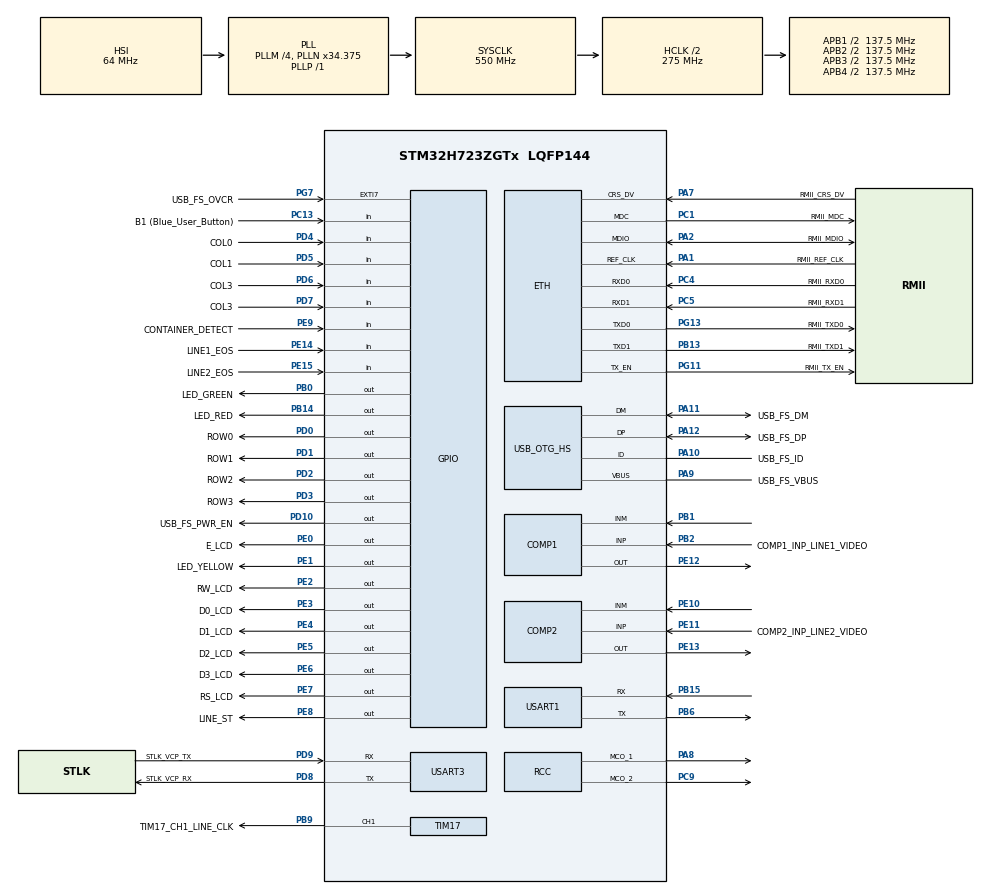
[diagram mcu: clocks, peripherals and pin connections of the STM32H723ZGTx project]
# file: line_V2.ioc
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PH0-OSC_IN.Signal=RCC_OSC_IN
VP_TIM17_VS_ClockSourceINT.Mode=Enable_Timer
PB14.GPIO_Label=LED_RED
RCC.PLLFRACN=3072
PA13(JTMS/SWDIO).Signal=DEBUG_JTMS-SWDIO
COMP1.Hysteresis=COMP_HYSTERESIS_LOW
PC5.Mode=RMII
PB13.Signal=ETH_TXD1
PD6.GPIO_Label=COL3
PG13.Signal=ETH_TXD0
PE6.GPIO_Label=D3_LCD
RCC.SYSCLKSource=RCC_SYSCLKSOURCE_PLLCLK
USART3.VirtualMode-Asynchronous=VM_ASYNC
Dma.TIM17_UP.0.Direction=DMA_PERIPH_TO_MEMORY
Dma.TIM17_UP.0.Polarity=HAL_DMAMUX_REQ_GEN_RISING
PD4.Signal=GPIO_Input
PB6.Signal=USART1_TX
PB6.Mode=Asynchronous
PD0.Signal=GPIO_Output
PD8.Signal=USART3_TX
PE5.Signal=GPIO_Output
PE1.Signal=GPIO_Output
PB3(JTDO/TRACESWO).GPIO_Label=SWO
PB2.Signal=COMP1_INP
TIM17.Channel=TIM_CHANNEL_1
RCC.DIVM2=1
RCC.DIVM1=4
PD1.GPIO_Label=ROW1
PC4.GPIO_Label=RMII_RXD0
PE9.Signal=GPIO_Input
PB3(JTDO/TRACESWO).Signal=DEBUG_JTDO-SWO
NVIC.TIM2_IRQn=true\:5\:0\:false\:false\:true\:true\:true\:true
PE4.GPIO_Label=D1_LCD
PC9.Mode=Clock-out-2
PE2.Signal=GPIO_Output
PA8.Signal=RCC_MCO_1
PE13.Mode=ExternalOutput
PE10.Signal=COMP2_INM
PB9.Signal=S_TIM17_CH1
Mcu.Package=LQFP144
TIM2.Prescaler=275
PB1.Signal=COMP1_INM
NVIC.TimeBase=TIM1_UP_IRQn
NVIC.TimeBaseIP=TIM1
PA10.Signal=USB_OTG_HS_ID
Dma.TIM17_UP.0.SyncRequestNumber=1
RCC.APB4Freq_Value=137500000
PA13(JTMS/SWDIO).GPIO_Label=SWDIO
PB13.Mode=RMII
PC4.Mode=RMII
PE12.Mode=ExternalOutput
RCC.DIVQ1=4
FREERTOS.Tasks01=defaultTask,24,128,StartDefaultTask,Default,NULL,Dynamic,NULL,NULL
PD9.GPIO_Label=STLK_VCP_TX
TIM17.Pulse=10
PC13.Signal=GPIO_Input
PA9.GPIO_Label=USB_FS_VBUS
TIM2.Pulse-PWM\ Generation1\ No\ Output=10
PD3.Signal=GPIO_Output
Dma.TIM17_UP.0.PeriphInc=DMA_PINC_DISABLE
Dma.TIM17_UP.0.MemDataAlignment=DMA_MDATAALIGN_WORD
Dma.TIM17_UP.0.RequestNumber=1
PE10.Mode=INM
PD7.Signal=GPIO_Input
PD1.Signal=GPIO_Output
PA11.GPIO_Label=USB_FS_DM
RCC.DIVP1=1
PC14-OSC32_IN.Signal=RCC_OSC32_IN
PG13.GPIO_Label=RMII_TXD0
PD10.Signal=GPIO_Output
PE8.GPIO_Label=LINE_ST
PA9.Signal=USB_OTG_HS_VBUS
RCC.DIVN2=19
RCC.DIVN1=34
PD8.Mode=Asynchronous
PE9.GPIO_Label=CONTAINER_DETECT
PB14.Signal=GPIO_Output
RCC.USBCLockSelection=RCC_USBCLKSOURCE_HSI48
PE1.GPIO_Label=LED_YELLOW
PA1.Mode=RMII
PE14.Signal=GPIO_Input
PE15.Signal=GPIO_Input
PE8.Signal=GPIO_Output
PG7.GPIO_Label=USB_FS_OVCR
PA1.GPIO_Label=RMII_REF_CLK
TIM2.Period=400
PA14(JTCK/SWCLK).Mode=Trace_Asynchronous_SW
ETH.MediaInterface=HAL_ETH_RMII_MODE
PE5.GPIO_Label=D2_LCD
PG11.Mode=RMII
PA11.Signal=USB_OTG_HS_DM
ProjectManager.HeapSize=0x200
PB1.Mode=INM
Dma.TIM17_UP.0.SyncPolarity=HAL_DMAMUX_SYNC_NO_EVENT
SH.S_TIM17_CH1.0=TIM17_CH1,PWM Generation1 CH1
NVIC.PriorityGroup=NVIC_PRIORITYGROUP_4
TIM2.Channel-PWM\ Generation1\ No\ Output=TIM_CHANNEL_1
PE3.Signal=GPIO_Output
PA8.Mode=Clock-out-1
PA14(JTCK/SWCLK).Signal=DEBUG_JTCK-SWCLK
PD2.Signal=GPIO_Output
PB0.Signal=GPIO_Output
PC1.Signal=ETH_MDC
PD2.GPIO_Label=ROW2
Dma.TIM17_UP.0.Mode=DMA_CIRCULAR
PC1.Mode=RMII
Mcu.Family=STM32H7
RCC.CortexFreq_Value=550000000
RCC.HPRE=RCC_HCLK_DIV2
PE11.GPIO_Label=COMP2_INP_LINE2_VIDEO
PD0.GPIO_Label=ROW0
PA11.Mode=OTG/Dual-Role-Device-FS
PB0.GPIO_Label=LED_GREEN
NVIC.TIM1_UP_IRQn=true\:0\:0\:false\:false\:true\:false\:false\:true
PC13.GPIO_Label=B1 (Blue_User_Button)
PB13.GPIO_Label=RMII_TXD1
PB15.Signal=USART1_RX
PD9.Mode=Asynchronous
PG11.Signal=ETH_TX_EN
ProjectManager.StackSize=0x400
VP_FREERTOS_VS_CMSIS_V2.Mode=CMSIS_V2
PA13(JTMS/SWDIO).Mode=Trace_Asynchronous_SW
TIM17.AutoReloadPreload=TIM_AUTORELOAD_PRELOAD_DISABLE
PA12.Signal=USB_OTG_HS_DP
Dma.TIM17_UP.0.Priority=DMA_PRIORITY_LOW
PE11.Mode=INP
RCC.HCLKFreq_Value=275000000
PH0-OSC_IN.Mode=HSE-External-Clock-Source
PH0-OSC_IN.GPIO_Label=MCO
RCC.HSE_VALUE=8000000
VP_TIM2_VS_no_output1.Mode=PWM Generation1 No Output
TIM17.Period=20
PE13.Signal=COMP2_OUT
PC14-OSC32_IN.Mode=LSE-External-Oscillator
PA14(JTCK/SWCLK).GPIO_Label=SWCLK
VP_SYS_VS_tim1.Mode=TIM1
PA10.GPIO_Label=USB_FS_ID
PG13.Mode=RMII
Dma.TIM17_UP.0.SyncEnable=DISABLE
PE4.Signal=GPIO_Output
Dma.TIM17_UP.0.SyncSignalID=NONE
FREERTOS.configTOTAL_HEAP_SIZE=32768
PD7.GPIO_Label=COL3
RCC.APB3Freq_Value=137500000
COMP2.Hysteresis=COMP_HYSTERESIS_LOW
Dma.TIM17_UP.0.FIFOMode=DMA_FIFOMODE_DISABLE
RCC.D1PPRE=RCC_APB3_DIV2
PD5.GPIO_Label=COL1
PB3(JTDO/TRACESWO).Mode=Trace_Asynchronous_SW
PA2.GPIO_Label=RMII_MDIO
Dma.TIM17_UP.0.Instance=DMA1_Stream1
PE0.GPIO_Label=E_LCD
TIM17.OC1Preload_PWM=DISABLE
PG11.GPIO_Label=RMII_TX_EN
PC5.Signal=ETH_RXD1
PD3.GPIO_Label=ROW3
PE7.Signal=GPIO_Output
PD6.Signal=GPIO_Input
Dma.Request0=TIM17_UP
PE2.GPIO_Label=RW_LCD
PC15-OSC32_OUT.Mode=LSE-External-Oscillator
PA7.Mode=RMII
PG7.Signal=GPXTI7
PB9.GPIO_Label=TIM17_CH1_LINE_CLK
PA10.Mode=OTG/Dual-Role-Device-FS
PC4.Signal=ETH_RXD0
RCC.D2PPRE2=RCC_APB2_DIV2
RCC.D2PPRE1=RCC_APB1_DIV2
PE14.GPIO_Label=LINE1_EOS
PD9.Signal=USART3_RX
PD5.Signal=GPIO_Input
NVIC.DMA1_Stream1_IRQn=true\:5\:0\:true\:false\:true\:true\:false\:true
PA12.GPIO_Label=USB_FS_DP
PD8.GPIO_Label=STLK_VCP_RX
USART1.VirtualMode-Asynchronous=VM_ASYNC
PA9.Mode=Activate_VBUS_FS
PE15.GPIO_Label=LINE2_EOS
Dma.TIM17_UP.0.PeriphDataAlignment=DMA_PDATAALIGN_WORD
ProjectManager.TargetToolchain=STM32CubeIDE
RCC.USBFreq_Value=48000000
PD10.GPIO_Label=USB_FS_PWR_EN
PE11.Signal=COMP2_INP
PC15-OSC32_OUT.Signal=RCC_OSC32_OUT
PA1.Signal=ETH_REF_CLK
board=NUCLEO-H723ZG
PB15.Mode=Asynchronous
RCC.APB2Freq_Value=137500000
VP_TIM2_VS_ClockSourceINT.Mode=Internal
PD4.GPIO_Label=COL0
RCC.ADCFreq_Value=608000000
PC1.GPIO_Label=RMII_MDC
Dma.TIM17_UP.0.SignalID=NONE
PE6.Signal=GPIO_Output
Mcu.Name=STM32H723ZGTx
PE0.Signal=GPIO_Output
PE7.GPIO_Label=RS_LCD
PE12.Signal=COMP1_OUT
PA2.Signal=ETH_MDIO
Dma.TIM17_UP.0.MemInc=DMA_MINC_ENABLE
RCC.SYSCLKFreq_VALUE=550000000
PA7.GPIO_Label=RMII_CRS_DV
PA12.Mode=OTG/Dual-Role-Device-FS
PC5.GPIO_Label=RMII_RXD1
PB2.Mode=INP
PB2.GPIO_Label=COMP1_INP_LINE1_VIDEO
PA2.Mode=RMII
PE3.GPIO_Label=D0_LCD
RCC.D3PPRE=RCC_APB4_DIV2
PC9.Signal=RCC_MCO_2
RCC.APB1Freq_Value=137500000
Dma.TIM17_UP.0.EventEnable=DISABLE
PA7.Signal=ETH_CRS_DV
PE9.GPIO_PuPd=GPIO_PULLUP

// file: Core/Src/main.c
/* USER CODE BEGIN Header */
/**
  ******************************************************************************
  * @file           : main.c
  * @brief          : Main program body
  ******************************************************************************
  * @attention
  *
  * <h2><center>&copy; Copyright (c) 2021 STMicroelectronics.
  * All rights reserved.</center></h2>
  *
  * This software component is licensed by ST under BSD 3-Clause license,
  * the "License"; You may not use this file except in compliance with the
  * License. You may obtain a copy of the License at:
  *                        opensource.org/licenses/BSD-3-Clause
  *
  ******************************************************************************
  */
/* USER CODE END Header */
#include "main.h"
#include "string.h"
#include "cmsis_os.h"

/* USER CODE BEGIN Includes */

#include <stdint.h>
#include <stdio.h>
#include <errno.h>

/* USER CODE END Includes */

#if defined ( __ICCARM__ ) /*!< IAR Compiler */

#pragma location=0x30040000
ETH_DMADescTypeDef  DMARxDscrTab[ETH_RX_DESC_CNT]; /* Ethernet Rx DMA Descriptors */
#pragma location=0x30040060
ETH_DMADescTypeDef  DMATxDscrTab[ETH_TX_DESC_CNT]; /* Ethernet Tx DMA Descriptors */
#pragma location=0x30040200
uint8_t Rx_Buff[ETH_RX_DESC_CNT][ETH_MAX_PACKET_SIZE]; /* Ethernet Receive Buffers */

#elif defined ( __CC_ARM )  /* MDK ARM Compiler */

__attribute__((at(0x30040000))) ETH_DMADescTypeDef  DMARxDscrTab[ETH_RX_DESC_CNT]; /* Ethernet Rx DMA Descriptors */
__attribute__((at(0x30040060))) ETH_DMADescTypeDef  DMATxDscrTab[ETH_TX_DESC_CNT]; /* Ethernet Tx DMA Descriptors */
__attribute__((at(0x30040200))) uint8_t Rx_Buff[ETH_RX_DESC_CNT][ETH_MAX_PACKET_SIZE]; /* Ethernet Receive Buffer */

#elif defined ( __GNUC__ ) /* GNU Compiler */

ETH_DMADescTypeDef DMARxDscrTab[ETH_RX_DESC_CNT] __attribute__((section(".RxDecripSection"))); /* Ethernet Rx DMA Descriptors */
ETH_DMADescTypeDef DMATxDscrTab[ETH_TX_DESC_CNT] __attribute__((section(".TxDecripSection")));   /* Ethernet Tx DMA Descriptors */
uint8_t Rx_Buff[ETH_RX_DESC_CNT][ETH_MAX_PACKET_SIZE] __attribute__((section(".RxArraySection"))); /* Ethernet Receive Buffers */

#endif

ETH_TxPacketConfig TxConfig;
COMP_HandleTypeDef hcomp1;
COMP_HandleTypeDef hcomp2;

ETH_HandleTypeDef heth;

TIM_HandleTypeDef htim2;
TIM_HandleTypeDef htim17;
DMA_HandleTypeDef hdma_tim17_up;

UART_HandleTypeDef huart1;
UART_HandleTypeDef huart3;

/* Definitions for defaultTask */
osThreadId_t defaultTaskHandle;
const osThreadAttr_t defaultTask_attributes = {
  .name = "defaultTask",
  .stack_size = 128 * 4,
  .priority = (osPriority_t) osPriorityNormal,
};

void SystemClock_Config(void);
static void MX_GPIO_Init(void);
static void MX_DMA_Init(void);
static void MX_ETH_Init(void);
static void MX_USART3_UART_Init(void);
static void MX_USB_OTG_HS_USB_Init(void);
static void MX_COMP1_Init(void);
static void MX_COMP2_Init(void);
static void MX_TIM17_Init(void);
static void MX_TIM2_Init(void);
static void MX_USART1_UART_Init(void);
void StartDefaultTask(void *argument);

int main(void)
{

  /* MCU Configuration--------------------------------------------------------*/

  /* Reset of all peripherals, Initializes the Flash interface and the Systick. */
  HAL_Init();

  /* Configure the system clock */
  SystemClock_Config();

  /* Initialize all configured peripherals */
  MX_GPIO_Init();
  MX_DMA_Init();
  MX_ETH_Init();
  MX_USART3_UART_Init();
  MX_USB_OTG_HS_USB_Init();
  MX_COMP1_Init();
  MX_COMP2_Init();
  MX_TIM17_Init();
  MX_TIM2_Init();
  MX_USART1_UART_Init();

  /* Init scheduler */
  osKernelInitialize();

  /* Create the thread(s) */
  /* creation of defaultTask */
  defaultTaskHandle = osThreadNew(StartDefaultTask, NULL, &defaultTask_attributes);

  /* Start scheduler */
  osKernelStart();

  /* We should never get here as control is now taken by the scheduler */
  /* Infinite loop */
  while (1)
  {

  }
}

void SystemClock_Config(void)
{
  RCC_OscInitTypeDef RCC_OscInitStruct = {0};
  RCC_ClkInitTypeDef RCC_ClkInitStruct = {0};

  /** Supply configuration update enable
  */
  HAL_PWREx_ConfigSupply(PWR_LDO_SUPPLY);
  /** Configure the main internal regulator output voltage
  */
  __HAL_PWR_VOLTAGESCALING_CONFIG(PWR_REGULATOR_VOLTAGE_SCALE0);

  while(!__HAL_PWR_GET_FLAG(PWR_FLAG_VOSRDY)) {}
  /** Initializes the RCC Oscillators according to the specified parameters
  * in the RCC_OscInitTypeDef structure.
  */
  RCC_OscInitStruct.OscillatorType = RCC_OSCILLATORTYPE_HSI48|RCC_OSCILLATORTYPE_HSI;
  RCC_OscInitStruct.HSIState = RCC_HSI_DIV1;
  RCC_OscInitStruct.HSICalibrationValue = RCC_HSICALIBRATION_DEFAULT;
  RCC_OscInitStruct.HSI48State = RCC_HSI48_ON;
  RCC_OscInitStruct.PLL.PLLState = RCC_PLL_ON;
  RCC_OscInitStruct.PLL.PLLSource = RCC_PLLSOURCE_HSI;
  RCC_OscInitStruct.PLL.PLLM = 4;
  RCC_OscInitStruct.PLL.PLLN = 34;
  RCC_OscInitStruct.PLL.PLLP = 1;
  RCC_OscInitStruct.PLL.PLLQ = 4;
  RCC_OscInitStruct.PLL.PLLR = 2;
  RCC_OscInitStruct.PLL.PLLRGE = RCC_PLL1VCIRANGE_3;
  RCC_OscInitStruct.PLL.PLLVCOSEL = RCC_PLL1VCOWIDE;
  RCC_OscInitStruct.PLL.PLLFRACN = 3072;
  if (HAL_RCC_OscConfig(&RCC_OscInitStruct) != HAL_OK)
  {
    Error_Handler();
  }
  /** Initializes the CPU, AHB and APB buses clocks
  */
  RCC_ClkInitStruct.ClockType = RCC_CLOCKTYPE_HCLK|RCC_CLOCKTYPE_SYSCLK
                              |RCC_CLOCKTYPE_PCLK1|RCC_CLOCKTYPE_PCLK2
                              |RCC_CLOCKTYPE_D3PCLK1|RCC_CLOCKTYPE_D1PCLK1;
  RCC_ClkInitStruct.SYSCLKSource = RCC_SYSCLKSOURCE_PLLCLK;
  RCC_ClkInitStruct.SYSCLKDivider = RCC_SYSCLK_DIV1;
  RCC_ClkInitStruct.AHBCLKDivider = RCC_HCLK_DIV2;
  RCC_ClkInitStruct.APB3CLKDivider = RCC_APB3_DIV2;
  RCC_ClkInitStruct.APB1CLKDivider = RCC_APB1_DIV2;
  RCC_ClkInitStruct.APB2CLKDivider = RCC_APB2_DIV2;
  RCC_ClkInitStruct.APB4CLKDivider = RCC_APB4_DIV2;

  if (HAL_RCC_ClockConfig(&RCC_ClkInitStruct, FLASH_LATENCY_3) != HAL_OK)
  {
    Error_Handler();
  }
  HAL_RCC_MCOConfig(RCC_MCO1, RCC_MCO1SOURCE_HSI, RCC_MCODIV_1);
  HAL_RCC_MCOConfig(RCC_MCO2, RCC_MCO2SOURCE_SYSCLK, RCC_MCODIV_1);
}

static void MX_COMP1_Init(void)
{

  hcomp1.Instance = COMP1;
  hcomp1.Init.InvertingInput = COMP_INPUT_MINUS_IO1;
  hcomp1.Init.NonInvertingInput = COMP_INPUT_PLUS_IO2;
  hcomp1.Init.OutputPol = COMP_OUTPUTPOL_NONINVERTED;
  hcomp1.Init.Hysteresis = COMP_HYSTERESIS_LOW;
  hcomp1.Init.BlankingSrce = COMP_BLANKINGSRC_NONE;
  hcomp1.Init.Mode = COMP_POWERMODE_HIGHSPEED;
  hcomp1.Init.WindowMode = COMP_WINDOWMODE_DISABLE;
  hcomp1.Init.TriggerMode = COMP_TRIGGERMODE_NONE;
  if (HAL_COMP_Init(&hcomp1) != HAL_OK)
  {
    Error_Handler();
  }

}

static void MX_COMP2_Init(void)
{

  hcomp2.Instance = COMP2;
  hcomp2.Init.InvertingInput = COMP_INPUT_MINUS_IO1;
  hcomp2.Init.NonInvertingInput = COMP_INPUT_PLUS_IO2;
  hcomp2.Init.OutputPol = COMP_OUTPUTPOL_NONINVERTED;
  hcomp2.Init.Hysteresis = COMP_HYSTERESIS_LOW;
  hcomp2.Init.BlankingSrce = COMP_BLANKINGSRC_NONE;
  hcomp2.Init.Mode = COMP_POWERMODE_HIGHSPEED;
  hcomp2.Init.WindowMode = COMP_WINDOWMODE_DISABLE;
  hcomp2.Init.TriggerMode = COMP_TRIGGERMODE_NONE;
  if (HAL_COMP_Init(&hcomp2) != HAL_OK)
  {
    Error_Handler();
  }

}

static void MX_ETH_Init(void)
{

  heth.Instance = ETH;
  heth.Init.MACAddr[0] =   0x00;
  heth.Init.MACAddr[1] =   0x80;
  heth.Init.MACAddr[2] =   0xE1;
  heth.Init.MACAddr[3] =   0x00;
  heth.Init.MACAddr[4] =   0x00;
  heth.Init.MACAddr[5] =   0x00;
  heth.Init.MediaInterface = HAL_ETH_RMII_MODE;
  heth.Init.TxDesc = DMATxDscrTab;
  heth.Init.RxDesc = DMARxDscrTab;
  heth.Init.RxBuffLen = 1524;

  if (HAL_ETH_Init(&heth) != HAL_OK)
  {
    Error_Handler();
  }

  memset(&TxConfig, 0 , sizeof(ETH_TxPacketConfig));
  TxConfig.Attributes = ETH_TX_PACKETS_FEATURES_CSUM | ETH_TX_PACKETS_FEATURES_CRCPAD;
  TxConfig.ChecksumCtrl = ETH_CHECKSUM_IPHDR_PAYLOAD_INSERT_PHDR_CALC;
  TxConfig.CRCPadCtrl = ETH_CRC_PAD_INSERT;

}

static void MX_TIM2_Init(void)
{

  TIM_ClockConfigTypeDef sClockSourceConfig = {0};
  TIM_MasterConfigTypeDef sMasterConfig = {0};
  TIM_OC_InitTypeDef sConfigOC = {0};

  htim2.Instance = TIM2;
  htim2.Init.Prescaler = 275;
  htim2.Init.CounterMode = TIM_COUNTERMODE_UP;
  htim2.Init.Period = 400;
  htim2.Init.ClockDivision = TIM_CLOCKDIVISION_DIV1;
  htim2.Init.AutoReloadPreload = TIM_AUTORELOAD_PRELOAD_DISABLE;
  if (HAL_TIM_Base_Init(&htim2) != HAL_OK)
  {
    Error_Handler();
  }
  sClockSourceConfig.ClockSource = TIM_CLOCKSOURCE_INTERNAL;
  if (HAL_TIM_ConfigClockSource(&htim2, &sClockSourceConfig) != HAL_OK)
  {
    Error_Handler();
  }
  if (HAL_TIM_PWM_Init(&htim2) != HAL_OK)
  {
    Error_Handler();
  }
  sMasterConfig.MasterOutputTrigger = TIM_TRGO_RESET;
  sMasterConfig.MasterSlaveMode = TIM_MASTERSLAVEMODE_DISABLE;
  if (HAL_TIMEx_MasterConfigSynchronization(&htim2, &sMasterConfig) != HAL_OK)
  {
    Error_Handler();
  }
  sConfigOC.OCMode = TIM_OCMODE_PWM1;
  sConfigOC.Pulse = 10;
  sConfigOC.OCPolarity = TIM_OCPOLARITY_HIGH;
  sConfigOC.OCFastMode = TIM_OCFAST_DISABLE;
  if (HAL_TIM_PWM_ConfigChannel(&htim2, &sConfigOC, TIM_CHANNEL_1) != HAL_OK)
  {
    Error_Handler();
  }

}

static void MX_TIM17_Init(void)
{

  TIM_OC_InitTypeDef sConfigOC = {0};
  TIM_BreakDeadTimeConfigTypeDef sBreakDeadTimeConfig = {0};

  htim17.Instance = TIM17;
  htim17.Init.Prescaler = 0;
  htim17.Init.CounterMode = TIM_COUNTERMODE_UP;
  htim17.Init.Period = 20;
  htim17.Init.ClockDivision = TIM_CLOCKDIVISION_DIV1;
  htim17.Init.RepetitionCounter = 0;
  htim17.Init.AutoReloadPreload = TIM_AUTORELOAD_PRELOAD_DISABLE;
  if (HAL_TIM_Base_Init(&htim17) != HAL_OK)
  {
    Error_Handler();
  }
  if (HAL_TIM_PWM_Init(&htim17) != HAL_OK)
  {
    Error_Handler();
  }
  sConfigOC.OCMode = TIM_OCMODE_PWM1;
  sConfigOC.Pulse = 10;
  sConfigOC.OCPolarity = TIM_OCPOLARITY_HIGH;
  sConfigOC.OCNPolarity = TIM_OCNPOLARITY_HIGH;
  sConfigOC.OCFastMode = TIM_OCFAST_DISABLE;
  sConfigOC.OCIdleState = TIM_OCIDLESTATE_RESET;
  sConfigOC.OCNIdleState = TIM_OCNIDLESTATE_RESET;
  if (HAL_TIM_PWM_ConfigChannel(&htim17, &sConfigOC, TIM_CHANNEL_1) != HAL_OK)
  {
    Error_Handler();
  }
  __HAL_TIM_DISABLE_OCxPRELOAD(&htim17, TIM_CHANNEL_1);
  sBreakDeadTimeConfig.OffStateRunMode = TIM_OSSR_DISABLE;
  sBreakDeadTimeConfig.OffStateIDLEMode = TIM_OSSI_DISABLE;
  sBreakDeadTimeConfig.LockLevel = TIM_LOCKLEVEL_OFF;
  sBreakDeadTimeConfig.DeadTime = 0;
  sBreakDeadTimeConfig.BreakState = TIM_BREAK_DISABLE;
  sBreakDeadTimeConfig.BreakPolarity = TIM_BREAKPOLARITY_HIGH;
  sBreakDeadTimeConfig.BreakFilter = 0;
  sBreakDeadTimeConfig.AutomaticOutput = TIM_AUTOMATICOUTPUT_DISABLE;
  if (HAL_TIMEx_ConfigBreakDeadTime(&htim17, &sBreakDeadTimeConfig) != HAL_OK)
  {
    Error_Handler();
  }
  HAL_TIM_MspPostInit(&htim17);

}

static void MX_USART1_UART_Init(void)
{

  huart1.Instance = USART1;
  huart1.Init.BaudRate = 115200;
  huart1.Init.WordLength = UART_WORDLENGTH_8B;
  huart1.Init.StopBits = UART_STOPBITS_1;
  huart1.Init.Parity = UART_PARITY_NONE;
  huart1.Init.Mode = UART_MODE_TX_RX;
  huart1.Init.HwFlowCtl = UART_HWCONTROL_NONE;
  huart1.Init.OverSampling = UART_OVERSAMPLING_16;
  huart1.Init.OneBitSampling = UART_ONE_BIT_SAMPLE_DISABLE;
  huart1.Init.ClockPrescaler = UART_PRESCALER_DIV1;
  huart1.AdvancedInit.AdvFeatureInit = UART_ADVFEATURE_NO_INIT;
  if (HAL_UART_Init(&huart1) != HAL_OK)
  {
    Error_Handler();
  }
  if (HAL_UARTEx_SetTxFifoThreshold(&huart1, UART_TXFIFO_THRESHOLD_1_8) != HAL_OK)
  {
    Error_Handler();
  }
  if (HAL_UARTEx_SetRxFifoThreshold(&huart1, UART_RXFIFO_THRESHOLD_1_8) != HAL_OK)
  {
    Error_Handler();
  }
  if (HAL_UARTEx_DisableFifoMode(&huart1) != HAL_OK)
  {
    Error_Handler();
  }

}

static void MX_USART3_UART_Init(void)
{

  huart3.Instance = USART3;
  huart3.Init.BaudRate = 115200;
  huart3.Init.WordLength = UART_WORDLENGTH_8B;
  huart3.Init.StopBits = UART_STOPBITS_1;
  huart3.Init.Parity = UART_PARITY_NONE;
  huart3.Init.Mode = UART_MODE_TX_RX;
  huart3.Init.HwFlowCtl = UART_HWCONTROL_NONE;
  huart3.Init.OverSampling = UART_OVERSAMPLING_16;
  huart3.Init.OneBitSampling = UART_ONE_BIT_SAMPLE_DISABLE;
  huart3.Init.ClockPrescaler = UART_PRESCALER_DIV1;
  huart3.AdvancedInit.AdvFeatureInit = UART_ADVFEATURE_NO_INIT;
  if (HAL_UART_Init(&huart3) != HAL_OK)
  {
    Error_Handler();
  }
  if (HAL_UARTEx_SetTxFifoThreshold(&huart3, UART_TXFIFO_THRESHOLD_1_8) != HAL_OK)
  {
    Error_Handler();
  }
  if (HAL_UARTEx_SetRxFifoThreshold(&huart3, UART_RXFIFO_THRESHOLD_1_8) != HAL_OK)
  {
    Error_Handler();
  }
  if (HAL_UARTEx_DisableFifoMode(&huart3) != HAL_OK)
  {
    Error_Handler();
  }

}

static void MX_USB_OTG_HS_USB_Init(void)
{

}

static void MX_DMA_Init(void)
{

  /* DMA controller clock enable */
  __HAL_RCC_DMA1_CLK_ENABLE();

  /* DMA interrupt init */
  /* DMA1_Stream1_IRQn interrupt configuration */
  HAL_NVIC_SetPriority(DMA1_Stream1_IRQn, 5, 0);
  HAL_NVIC_EnableIRQ(DMA1_Stream1_IRQn);

}

static void MX_GPIO_Init(void)
{
  GPIO_InitTypeDef GPIO_InitStruct = {0};

  /* GPIO Ports Clock Enable */
  __HAL_RCC_GPIOE_CLK_ENABLE();
  __HAL_RCC_GPIOC_CLK_ENABLE();
  __HAL_RCC_GPIOH_CLK_ENABLE();
  __HAL_RCC_GPIOA_CLK_ENABLE();
  __HAL_RCC_GPIOB_CLK_ENABLE();
  __HAL_RCC_GPIOD_CLK_ENABLE();
  __HAL_RCC_GPIOG_CLK_ENABLE();

  /*Configure GPIO pin Output Level */
  HAL_GPIO_WritePin(GPIOE, RW_LCD_Pin|D0_LCD_Pin|D1_LCD_Pin|D2_LCD_Pin
                          |D3_LCD_Pin|RS_LCD_Pin|LINE_ST_Pin|E_LCD_Pin
                          |LED_YELLOW_Pin, GPIO_PIN_RESET);

  /*Configure GPIO pin Output Level */
  HAL_GPIO_WritePin(GPIOB, LED_GREEN_Pin|LED_RED_Pin, GPIO_PIN_RESET);

  /*Configure GPIO pin Output Level */
  HAL_GPIO_WritePin(GPIOD, USB_FS_PWR_EN_Pin|ROW0_Pin|ROW1_Pin|ROW2_Pin
                          |ROW3_Pin, GPIO_PIN_RESET);

  /*Configure GPIO pins : RW_LCD_Pin D0_LCD_Pin D1_LCD_Pin D2_LCD_Pin
                           D3_LCD_Pin RS_LCD_Pin LINE_ST_Pin E_LCD_Pin
                           LED_YELLOW_Pin */
  GPIO_InitStruct.Pin = RW_LCD_Pin|D0_LCD_Pin|D1_LCD_Pin|D2_LCD_Pin
                          |D3_LCD_Pin|RS_LCD_Pin|LINE_ST_Pin|E_LCD_Pin
                          |LED_YELLOW_Pin;
  GPIO_InitStruct.Mode = GPIO_MODE_OUTPUT_PP;
  GPIO_InitStruct.Pull = GPIO_NOPULL;
  GPIO_InitStruct.Speed = GPIO_SPEED_FREQ_LOW;
  HAL_GPIO_Init(GPIOE, &GPIO_InitStruct);

  /*Configure GPIO pin : B1_Pin */
  GPIO_InitStruct.Pin = B1_Pin;
  GPIO_InitStruct.Mode = GPIO_MODE_INPUT;
  GPIO_InitStruct.Pull = GPIO_NOPULL;
  HAL_GPIO_Init(B1_GPIO_Port, &GPIO_InitStruct);

  /*Configure GPIO pins : LED_GREEN_Pin LED_RED_Pin */
  GPIO_InitStruct.Pin = LED_GREEN_Pin|LED_RED_Pin;
  GPIO_InitStruct.Mode = GPIO_MODE_OUTPUT_PP;
  GPIO_InitStruct.Pull = GPIO_NOPULL;
  GPIO_InitStruct.Speed = GPIO_SPEED_FREQ_LOW;
  HAL_GPIO_Init(GPIOB, &GPIO_InitStruct);

  /*Configure GPIO pin : CONTAINER_DETECT_Pin */
  GPIO_InitStruct.Pin = CONTAINER_DETECT_Pin;
  GPIO_InitStruct.Mode = GPIO_MODE_INPUT;
  GPIO_InitStruct.Pull = GPIO_PULLUP;
  HAL_GPIO_Init(CONTAINER_DETECT_GPIO_Port, &GPIO_InitStruct);

  /*Configure GPIO pins : LINE1_EOS_Pin LINE2_EOS_Pin */
  GPIO_InitStruct.Pin = LINE1_EOS_Pin|LINE2_EOS_Pin;
  GPIO_InitStruct.Mode = GPIO_MODE_INPUT;
  GPIO_InitStruct.Pull = GPIO_NOPULL;
  HAL_GPIO_Init(GPIOE, &GPIO_InitStruct);

  /*Configure GPIO pins : USB_FS_PWR_EN_Pin ROW0_Pin ROW1_Pin ROW2_Pin
                           ROW3_Pin */
  GPIO_InitStruct.Pin = USB_FS_PWR_EN_Pin|ROW0_Pin|ROW1_Pin|ROW2_Pin
                          |ROW3_Pin;
  GPIO_InitStruct.Mode = GPIO_MODE_OUTPUT_PP;
  GPIO_InitStruct.Pull = GPIO_NOPULL;
  GPIO_InitStruct.Speed = GPIO_SPEED_FREQ_LOW;
  HAL_GPIO_Init(GPIOD, &GPIO_InitStruct);

  /*Configure GPIO pin : USB_FS_OVCR_Pin */
  GPIO_InitStruct.Pin = USB_FS_OVCR_Pin;
  GPIO_InitStruct.Mode = GPIO_MODE_IT_RISING;
  GPIO_InitStruct.Pull = GPIO_NOPULL;
  HAL_GPIO_Init(USB_FS_OVCR_GPIO_Port, &GPIO_InitStruct);

  /*Configure GPIO pin : PC9 */
  GPIO_InitStruct.Pin = GPIO_PIN_9;
  GPIO_InitStruct.Mode = GPIO_MODE_AF_PP;
  GPIO_InitStruct.Pull = GPIO_NOPULL;
  GPIO_InitStruct.Speed = GPIO_SPEED_FREQ_LOW;
  GPIO_InitStruct.Alternate = GPIO_AF0_MCO;
  HAL_GPIO_Init(GPIOC, &GPIO_InitStruct);

  /*Configure GPIO pin : PA8 */
  GPIO_InitStruct.Pin = GPIO_PIN_8;
  GPIO_InitStruct.Mode = GPIO_MODE_AF_PP;
  GPIO_InitStruct.Pull = GPIO_NOPULL;
  GPIO_InitStruct.Speed = GPIO_SPEED_FREQ_LOW;
  GPIO_InitStruct.Alternate = GPIO_AF0_MCO;
  HAL_GPIO_Init(GPIOA, &GPIO_InitStruct);

  /*Configure GPIO pin : USB_FS_VBUS_Pin */
  GPIO_InitStruct.Pin = USB_FS_VBUS_Pin;
  GPIO_InitStruct.Mode = GPIO_MODE_INPUT;
  GPIO_InitStruct.Pull = GPIO_NOPULL;
  HAL_GPIO_Init(USB_FS_VBUS_GPIO_Port, &GPIO_InitStruct);

  /*Configure GPIO pin : USB_FS_ID_Pin */
  GPIO_InitStruct.Pin = USB_FS_ID_Pin;
  GPIO_InitStruct.Mode = GPIO_MODE_AF_PP;
  GPIO_InitStruct.Pull = GPIO_NOPULL;
  GPIO_InitStruct.Speed = GPIO_SPEED_FREQ_LOW;
  GPIO_InitStruct.Alternate = GPIO_AF10_OTG1_HS;
  HAL_GPIO_Init(USB_FS_ID_GPIO_Port, &GPIO_InitStruct);

  /*Configure GPIO pins : COL0_Pin COL1_Pin COL3_Pin COL3D7_Pin */
  GPIO_InitStruct.Pin = COL0_Pin|COL1_Pin|COL3_Pin|COL3D7_Pin;
  GPIO_InitStruct.Mode = GPIO_MODE_INPUT;
  GPIO_InitStruct.Pull = GPIO_NOPULL;
  HAL_GPIO_Init(GPIOD, &GPIO_InitStruct);

}

/* USER CODE BEGIN 4 */

/*
 * In-Out Functions Connect To USART1
 *
 * char buf[100];
 *
 * scanf("%s", (char*)buf);
 *
 * buf[sizeof(buf)] = 0;
 *
 * printf("%s\n", (char*)buf);
 */

int _write(int file, char *ptr, int len)
{
    int DataIdx;

    for (DataIdx = 0; DataIdx < len; DataIdx++)
    {
        HAL_UART_Transmit (&huart1, (uint8_t *)ptr++, 1, 10);
    }
    return len;
}

int _read(int fd, char* ptr, int len)
{
  HAL_StatusTypeDef hstatus;

  if (fd == 0)
  {
    hstatus = HAL_UART_Receive(&huart1, (uint8_t *) ptr, 1, HAL_MAX_DELAY);

    if (hstatus == HAL_OK)
    {
      return 1;
    }
    else
    {
      return EIO;
    }
  }

  errno = EBADF;
  return -1;
}

/* USER CODE END 4 */

void StartDefaultTask(void *argument)
{
  for(;;)
  {
    osDelay(1);
  }
}

 /**
  * @brief  Period elapsed callback in non blocking mode
  * @note   This function is called  when TIM1 interrupt took place, inside
  * HAL_TIM_IRQHandler(). It makes a direct call to HAL_IncTick() to increment
  * a global variable "uwTick" used as application time base.
  * @param  htim : TIM handle
  * @retval None
  */
void HAL_TIM_PeriodElapsedCallback(TIM_HandleTypeDef *htim)
{
  if (htim->Instance == TIM1) {
    HAL_IncTick();
  }
}

void Error_Handler(void)
{
  __disable_irq();
  while (1)
  {
  }
}

/************************ (C) COPYRIGHT STMicroelectronics *****END OF FILE****/
